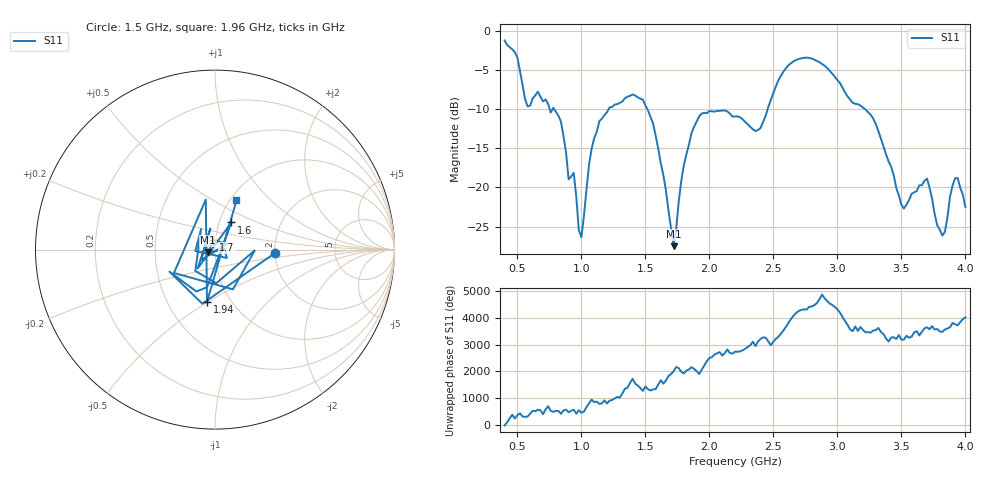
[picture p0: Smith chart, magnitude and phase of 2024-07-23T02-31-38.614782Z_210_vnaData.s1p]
!Created with skrf (http://scikit-rf.org).
# Hz S RI R 50.0
!freq ReS11 ImS11
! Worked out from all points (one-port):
!   181 points, 400 MHz to 4 GHz, reference 50 ohm
!   lowest |S11| = -27.5 dB at 1.72 GHz (marker M1), VSWR 1.09, Z = 46.2 - j1.47 ohm
!   |S11| at or under -10 dB: 785.9 MHz to 1.214 GHz (427.6 MHz wide, 42.8 % of centre); 1.514 GHz to 2.455 GHz (941.1 MHz wide, 47.4 % of centre); 3.215 GHz to end of sweep (the widest 3 of 4)
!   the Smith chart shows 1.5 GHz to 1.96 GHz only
!   S11 on the Smith chart (normalised r, x): 1.5 GHz: 1.99, -0.09; 1.6 GHz: 1.14, +0.36; 1.7 GHz: 0.98, +0.11; 1.94 GHz: 0.78, -0.50; 1.96 GHz: 1.07, +0.64
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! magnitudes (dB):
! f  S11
! 400 MHz  -1.3
! 580 MHz  -9.7
! 660 MHz  -7.8
! 860 MHz  -13.5
! 900 MHz  -19.0
! 940 MHz  -18.1
! 1 GHz  -26.4
! 1.1 GHz  -13.7
! 1.3 GHz  -9.2
! 1.5 GHz  -9.6
! 1.6 GHz  -15.1
! 1.7 GHz  -25.2
! 1.72 GHz  -27.5
! 1.76 GHz  -21.9
! 1.86 GHz  -13.1
! 1.94 GHz  -10.6
! 1.96 GHz  -10.5
! 2.2 GHz  -11.0
! 2.4 GHz  -12.4
! 2.66 GHz  -3.9
! 3.1 GHz  -8.8
! 3.28 GHz  -11.2
! 3.5 GHz  -22.2
! 3.56 GHz  -21.6
! 3.7 GHz  -18.9
! 3.82 GHz  -26.2
! 3.92 GHz  -18.8
! 4 GHz  -22.5
